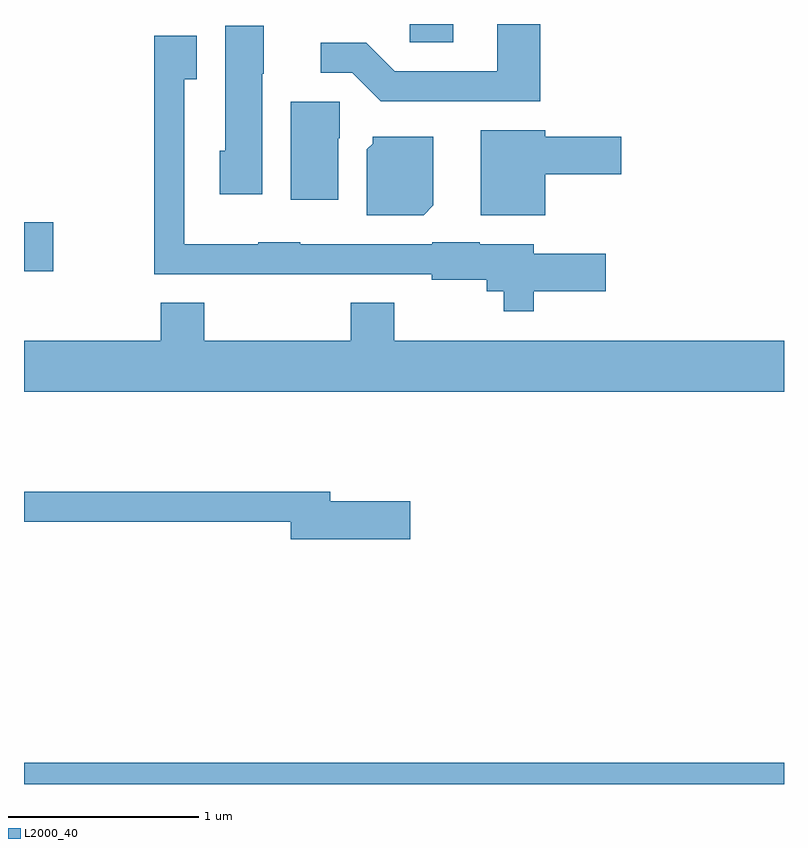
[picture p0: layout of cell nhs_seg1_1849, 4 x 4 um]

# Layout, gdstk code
import gdstk
lib = gdstk.Library(unit=1e-6, precision=1e-09)
def R(c, l, rs):  # rectangles x0, y0, x1, y1
    for r in rs: c.add(gdstk.rectangle(r[:2], r[2:], *l))
def P(c, l, *ps):  # polygons
    for p in ps: c.add(gdstk.Polygon(p, *l))
L2000_40 = (2000, 40)

nhs_seg1_1849 = lib.new_cell('nhs_seg1_1849')
R(nhs_seg1_1849, L2000_40, [(241.611,919.712,245.611,919.824), (241.611,922.411,241.764,922.669), (243.641,923.616,243.869,923.712)])
P(nhs_seg1_1849, L2000_40, [(244.329,923.712),(244.101,923.712),(244.101,923.464),(243.562,923.464),(243.412,923.614),(243.173,923.614),(243.173,923.456),(243.339,923.456),(243.489,923.306),(244.329,923.306)],
  [(242.864,923.45),(242.874,923.45),(242.874,923.704),(242.671,923.704),(242.671,923.044),(242.641,923.044),(242.641,922.816),(242.864,922.816)],
  [(244.294,922.306),(244.674,922.306),(244.674,922.504),(244.294,922.504),(244.294,922.554),(244.01,922.554),(244.01,922.564),(243.76,922.564),(243.76,922.554),(243.065,922.554),(243.065,922.564),(242.845,922.564),(242.845,922.554),(242.454,922.554),(242.454,923.421),(242.519,923.421),(242.519,923.649),(242.296,923.649),(242.296,922.396),(243.756,922.396),(243.756,922.366),(244.046,922.366),(244.046,922.306),(244.136,922.306),(244.136,922.201),(244.294,922.201)],
  [(243.264,923.11),(243.274,923.11),(243.274,923.304),(243.016,923.304),(243.016,922.786),(243.264,922.786)],
  [(244.354,922.921),(244.754,922.921),(244.754,923.119),(244.354,923.119),(244.354,923.154),(244.016,923.154),(244.016,922.706),(244.354,922.706)],
  [(243.764,922.757),(243.764,923.119),(243.446,923.119),(243.446,923.082),(243.416,923.052),(243.416,922.706),(243.714,922.706)],
  [(245.611,922.044),(243.559,922.044),(243.559,922.244),(243.331,922.244),(243.331,922.044),(242.559,922.044),(242.559,922.244),(242.331,922.244),(242.331,922.044),(241.611,922.044),(241.611,921.776),(245.611,921.776)],
  [(243.644,921.199),(243.224,921.199),(243.224,921.249),(241.611,921.249),(241.611,921.091),(243.016,921.091),(243.016,921.001),(243.644,921.001)])

lib.write_gds('nhs_seg1_1849.gds')
